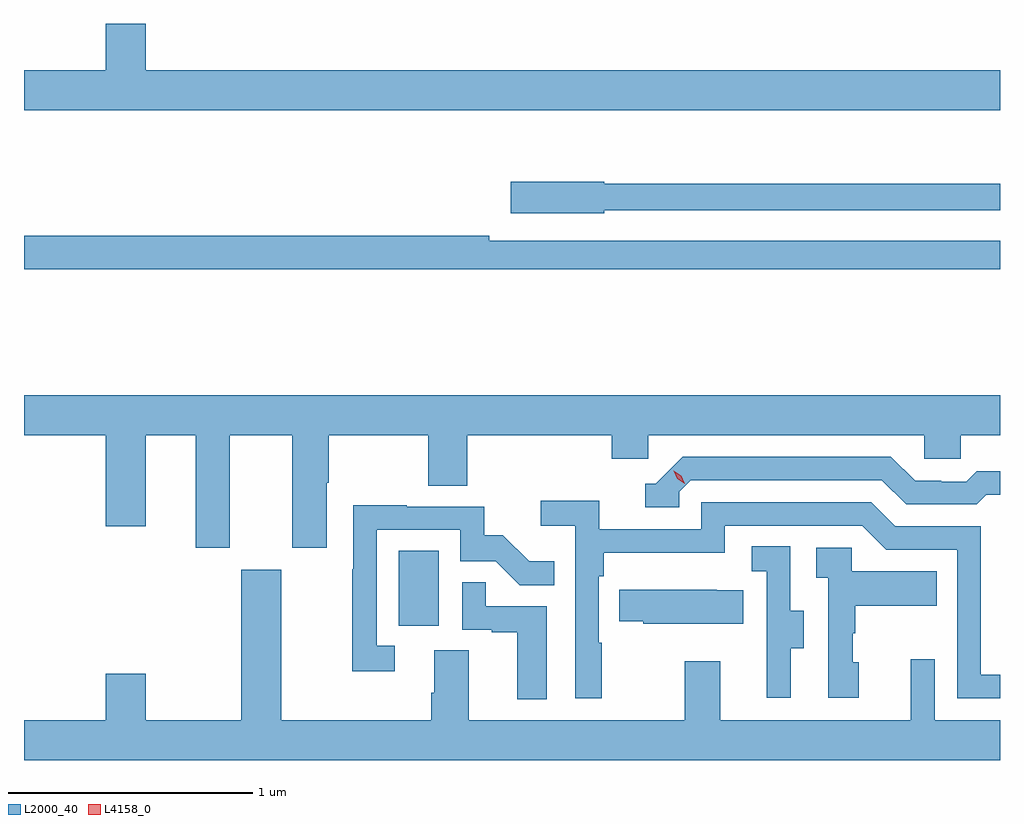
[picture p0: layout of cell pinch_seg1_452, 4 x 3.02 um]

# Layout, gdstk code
import gdstk
lib = gdstk.Library(unit=1e-6, precision=1e-09)
def R(c, l, rs):  # rectangles x0, y0, x1, y1
    for r in rs: c.add(gdstk.rectangle(r[:2], r[2:], *l))
def P(c, l, *ps):  # polygons
    for p in ps: c.add(gdstk.Polygon(p, *l))
L2000_40 = (2000, 40)
L4158_0 = (4158, 0)

pinch_seg1_452 = lib.new_cell('pinch_seg1_452')
R(pinch_seg1_452, L2000_40, [(969.404,508.326,969.568,508.633)])
P(pinch_seg1_452, L2000_40, [(971.869,510.604),(968.368,510.604),(968.368,510.793),(968.204,510.793),(968.204,510.604),(967.869,510.604),(967.869,510.44),(971.869,510.44)],
  [(970.248,510.03),(971.869,510.03),(971.869,510.139),(970.248,510.139),(970.248,510.147),(969.864,510.147),(969.864,510.017),(970.248,510.017)],
  [(971.869,509.904),(969.776,509.904),(969.776,509.924),(967.869,509.924),(967.869,509.788),(971.869,509.788)],
  [(967.869,509.108),(968.204,509.108),(968.204,508.734),(968.368,508.734),(968.368,509.108),(968.573,509.108),(968.573,508.647),(968.713,508.647),(968.713,509.108),(968.969,509.108),(968.969,508.647),(969.109,508.647),(969.109,508.912),(969.117,508.912),(969.117,509.108),(969.526,509.108),(969.526,508.9),(969.686,508.9),(969.686,509.108),(970.277,509.108),(970.277,509.01),(970.428,509.01),(970.428,509.108),(971.559,509.108),(971.559,509.01),(971.709,509.01),(971.709,509.108),(971.869,509.108),(971.869,509.272),(967.869,509.272)],
  [(970.554,508.875),(970.602,508.923),(971.385,508.923),(971.484,508.824),(971.773,508.824),(971.812,508.863),(971.869,508.863),(971.869,508.96),(971.773,508.96),(971.731,508.917),(971.628,508.917),(971.628,508.92),(971.521,508.92),(971.422,509.019),(970.569,509.019),(970.458,508.908),(970.415,508.908),(970.415,508.812),(970.554,508.812)],
  [(970.237,508.256),(970.224,508.256),(970.224,508.529),(970.244,508.529),(970.244,508.625),(970.74,508.625),(970.74,508.737),(971.304,508.737),(971.403,508.638),(971.694,508.638),(971.694,508.029),(971.869,508.029),(971.869,508.125),(971.79,508.125),(971.79,508.734),(971.44,508.734),(971.341,508.833),(970.644,508.833),(970.644,508.722),(970.226,508.722),(970.226,508.838),(969.987,508.838),(969.987,508.736),(970.128,508.736),(970.128,508.029),(970.237,508.029)],
  [(969.388,508.245),(969.315,508.245),(969.315,508.719),(969.657,508.719),(969.657,508.59),(969.802,508.59),(969.9,508.492),(970.043,508.492),(970.043,508.591),(969.939,508.591),(969.832,508.698),(969.756,508.698),(969.756,508.815),(969.437,508.815),(969.437,508.82),(969.219,508.82),(969.219,508.559),(969.214,508.559),(969.214,508.14),(969.388,508.14)],
  [(971.011,508.234),(971.065,508.234),(971.065,508.389),(971.01,508.389),(971.01,508.652),(970.851,508.652),(970.851,508.549),(970.914,508.549),(970.914,508.245),(970.913,508.245),(970.913,508.032),(971.011,508.032)],
  [(971.29,508.176),(971.265,508.176),(971.265,508.295),(971.275,508.295),(971.275,508.409),(971.609,508.409),(971.609,508.549),(971.262,508.549),(971.262,508.647),(971.115,508.647),(971.115,508.523),(971.166,508.523),(971.166,508.032),(971.29,508.032)],
  [(968.204,508.129),(968.204,507.94),(967.869,507.94),(967.869,507.776),(971.869,507.776),(971.869,507.94),(971.601,507.94),(971.601,508.189),(971.504,508.189),(971.504,507.94),(970.723,507.94),(970.723,508.18),(970.576,508.18),(970.576,507.94),(969.691,507.94),(969.691,508.226),(969.551,508.226),(969.551,508.052),(969.539,508.052),(969.539,507.94),(968.923,507.94),(968.923,508.555),(968.759,508.555),(968.759,507.94),(968.368,507.94),(968.368,508.129)],
  [(970.012,508.407),(969.761,508.407),(969.761,508.505),(969.666,508.505),(969.666,508.311),(969.787,508.311),(969.787,508.299),(969.89,508.299),(969.89,508.025),(970.012,508.025)],
  [(970.817,508.471),(970.709,508.471),(970.709,508.474),(970.309,508.474),(970.309,508.345),(970.407,508.345),(970.407,508.334),(970.817,508.334)])
P(pinch_seg1_452, L4158_0, [(970.577,508.909),(970.547,508.929),(970.532,508.962),(970.532,508.962),(970.532,508.962),(970.562,508.942),(970.578,508.909),(970.578,508.909)])

lib.write_gds('pinch_seg1_452.gds')
